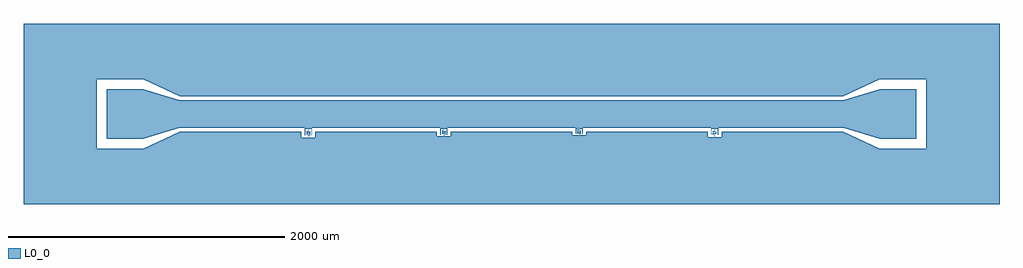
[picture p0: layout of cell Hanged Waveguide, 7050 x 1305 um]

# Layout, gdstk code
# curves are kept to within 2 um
import gdstk
lib = gdstk.Library(unit=1e-6, precision=1e-09)
def P(c, l, *ps):  # polygons
    for p in ps: c.add(gdstk.Polygon(p, *l))
L0_0 = (0, 0)

hanged_waveguide = lib.new_cell('Hanged Waveguide')
P(hanged_waveguide, L0_0, [(4992,-549.5),(4992,755.5),(-2058,755.5),(-2058,-147),(-1528,-147),(-1528,353),(-1193,353),(-928,233),(3862,233),(4127,353),(4462,353),(4462,-147),(4127,-147),(3862,-27),(2984,-27),(2984,-65),(2884,-65),(2884,-27),(2006,-27),(2006,-49.5),(1906,-49.5),(1906,-27),(1028,-27),(1028,-59.5),(928,-59.5),(928,-27),(50,-27),(50,-69.5),(-50,-69.5),(-50,-27),(-928,-27),(-1193,-147),(-2058,-147),(-2058,-549.5)],
  [(-928,3),(3862,3),(4127,-77),(4392,-77),(4392,283),(4127,283),(3862,203),(-928,203),(-1193,283),(-1458,283),(-1458,-77),(-1193,-77)],
  [(-25,-51),(-23,-51),(-23,-2),(23,-2),(23,-51),(25,-51),(25,0),(-25,0)],
  [(0.25,-2),(-0.25,-2),(-0.25,-20.5),(-13,-20.5),(-13,-26),(0,-26),(12.5,-26),(12.5,-30.5),(0,-30.5),(-13,-30.5),(-13,-36),(0,-36),(12.5,-36),(12.5,-40.5),(0,-40.5),(-13,-40.5),(-13,-46),(0,-46),(12.5,-46),(12.5,-50.5),(-0.25,-50.5),(-0.25,-69.5),(0.25,-69.5),(0.25,-51),(13,-51),(13,-45.5),(0,-45.5),(-12.5,-45.5),(-12.5,-41),(0,-41),(13,-41),(13,-35.5),(0,-35.5),(-12.5,-35.5),(-12.5,-31),(0,-31),(13,-31),(13,-25.5),(0,-25.5),(-12.5,-25.5),(-12.5,-21),(0.25,-21)],
  [(953,-46),(955,-46),(955,-2),(1001,-2),(1001,-46),(1003,-46),(1003,0),(953,0)],
  [(978.25,-2),(977.75,-2),(977.75,-15.5),(965,-15.5),(965,-21),(978,-21),(990.5,-21),(990.5,-25.5),(978,-25.5),(965,-25.5),(965,-31),(978,-31),(990.5,-31),(990.5,-35.5),(978,-35.5),(965,-35.5),(965,-41),(978,-41),(990.5,-41),(990.5,-45.5),(977.75,-45.5),(977.75,-59.5),(978.25,-59.5),(978.25,-46),(991,-46),(991,-40.5),(978,-40.5),(965.5,-40.5),(965.5,-36),(978,-36),(991,-36),(991,-30.5),(978,-30.5),(965.5,-30.5),(965.5,-26),(978,-26),(991,-26),(991,-20.5),(978,-20.5),(965.5,-20.5),(965.5,-16),(978.25,-16)],
  [(1956.25,-2),(1955.75,-2),(1955.75,-10.5),(1943,-10.5),(1943,-16),(1956,-16),(1968.5,-16),(1968.5,-20.5),(1956,-20.5),(1943,-20.5),(1943,-26),(1956,-26),(1968.5,-26),(1968.5,-30.5),(1956,-30.5),(1943,-30.5),(1943,-36),(1956,-36),(1968.5,-36),(1968.5,-40.5),(1955.75,-40.5),(1955.75,-49.5),(1956.25,-49.5),(1956.25,-41),(1969,-41),(1969,-35.5),(1956,-35.5),(1943.5,-35.5),(1943.5,-31),(1956,-31),(1969,-31),(1969,-25.5),(1956,-25.5),(1943.5,-25.5),(1943.5,-21),(1956,-21),(1969,-21),(1969,-15.5),(1956,-15.5),(1943.5,-15.5),(1943.5,-11),(1956.25,-11)],
  [(1931,-41),(1933,-41),(1933,-2),(1979,-2),(1979,-41),(1981,-41),(1981,0),(1931,0)],
  [(2909,-46.25),(2911,-46.25),(2911,-2),(2957,-2),(2957,-46.25),(2959,-46.25),(2959,0),(2909,0)],
  [(2934.25,-2),(2933.75,-2),(2933.75,-20.75),(2921,-20.75),(2921,-26.25),(2934,-26.25),(2946.5,-26.25),(2946.5,-30.75),(2934,-30.75),(2921,-30.75),(2921,-36.25),(2934,-36.25),(2946.5,-36.25),(2946.5,-40.75),(2934,-40.75),(2921,-40.75),(2921,-46.25),(2933.75,-46.25),(2933.75,-65),(2934.25,-65),(2934.25,-45.75),(2921.5,-45.75),(2921.5,-41.25),(2934,-41.25),(2947,-41.25),(2947,-35.75),(2934,-35.75),(2921.5,-35.75),(2921.5,-31.25),(2934,-31.25),(2947,-31.25),(2947,-25.75),(2934,-25.75),(2921.5,-25.75),(2921.5,-21.25),(2934.25,-21.25)])

lib.write_gds('Hanged_Waveguide.gds')
